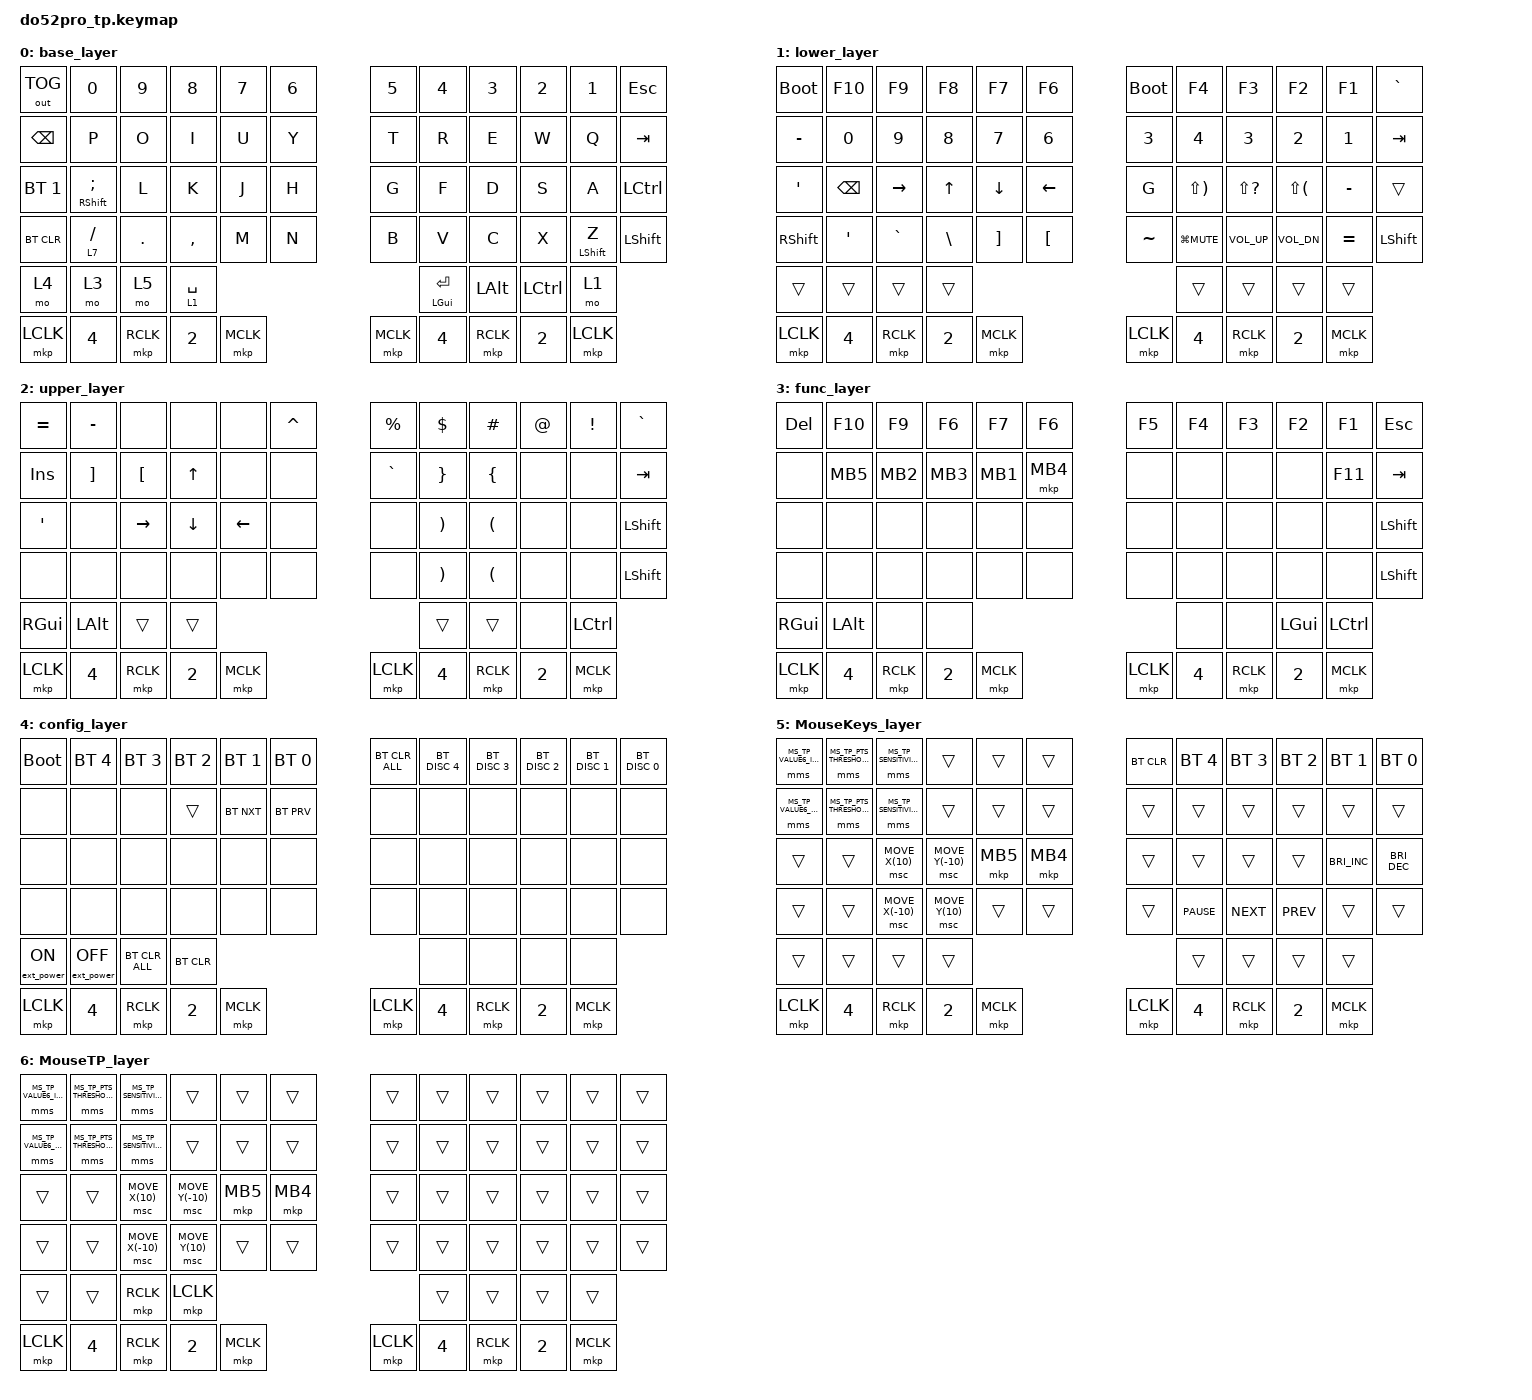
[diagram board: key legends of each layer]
#include <zephyr/dt-bindings/input/input-event-codes.h>
#include <dt-bindings/zmk/outputs.h>

#define BASE 0
#define LOWER 1
#define UPPER 2
#define FUNC 3
#define CONFIG 4
#define MOUSE_KEYS 5
#define MOUSE_TP 6
#define MOUSE_TP_KEYS 7
#define MOUSE_TP_SET 8

#ifdef HAS_UROB
#define HAS_TRI_STATE
#define HAS_NUM_WORD
#endif

#define HAS_MOUSE_KEYS
#define HAS_MOUSE_TP
#define HAS_TRI_STATE

#include "includes/mouse_keys.dtsi"
#include "includes/mouse_tp.dtsi"
#include "includes/mouse_tp_badjeff_input_listener.dtsi"
#include <dt-bindings/zmk/mouse.h>
#include <behaviors.dtsi>
#include <dt-bindings/zmk/bt.h>
#include <dt-bindings/zmk/ext_power.h>
#include <dt-bindings/zmk/keys.h>

&mt { flavor = "tap-preferred"; };

/ {
    combos {
        compatible = "zmk,combos";
        esc {
            bindings = <&kp ESCAPE>;
            key-positions = <19 20>; 
        };
        tab {
            bindings = <&kp TAB>;
            key-positions = <31 32>; 
        };
    };

    keymap {
        compatible = "zmk,keymap";

        base_layer {
            bindings = <
&out OUT_TOG    &kp N0          &kp N9    &kp N8  &kp N7  &kp N6                &kp N5 &kp N4 &kp N3 &kp N2 &kp N1       &kp ESCAPE
&kp BSPC        &kp P           &kp O     &kp I   &kp U   &kp Y                &kp T  &kp R  &kp E  &kp W  &kp Q        &kp TAB
&bt BT_SEL 1    &mt RSHIFT SEMI &kp L     &kp K   &kp J   &kp H                &kp G  &kp F  &kp D  &kp S  &kp A        &kp LCTRL
&bt BT_CLR      &lt 7 FSLH      &kp DOT   &kp COMMA &kp M &kp N                &kp B  &kp V  &kp C  &kp X  &mt LSHIFT Z &kp LSHFT
&mo 4           &mo 3                     &mo 5   &lt 1 SPACE                  &mt LGUI RET  &kp LALT             &kp LCTRL    &mo 1
&mkp LCLK       &kp N4          &mkp RCLK &kp N2  &mkp MCLK                    &mkp MCLK &kp N4 &mkp RCLK &kp N2 &mkp LCLK
            >;
        };

        lower_layer {
            bindings = <
&bootloader     &kp F10   &kp F9    &kp F8    &kp F7    &kp F6                 &bootloader   &kp F4   &kp F3   &kp F2   &kp F1   &kp GRAVE
&kp MINUS       &kp N0    &kp N9    &kp N8    &kp N7    &kp N6                 &kp N3   &kp N4   &kp N3   &kp N2   &kp N1   &kp TAB
&kp APOS        &kp BSPC  &kp RIGHT &kp UP    &kp DOWN  &kp LEFT               &kp G    &kp LS(RPAR) &kp LS(QMARK) &kp LS(LPAR) &kp MINUS &trans
&kp RIGHT_SHIFT &kp SQT   &kp GRAVE &kp BSLH  &kp RBKT  &kp LBKT               &kp TILDE &kp LG(K_MUTE) &kp C_VOLUME_UP &kp C_VOL_DN &kp EQUAL &kp LSHFT
&trans          &trans                        &trans    &trans                 &trans   &trans                    &trans   &trans
&mkp LCLK       &kp N4    &mkp RCLK &kp N2    &mkp MCLK                        &mkp LCLK &kp N4 &mkp RCLK &kp N2 &mkp MCLK
            >;
        };

        upper_layer {
            bindings = <
&kp EQUAL         &kp MINUS         &none          &none             &none          &kp CARET              &kp PRCNT &kp DLLR &kp HASH &kp AT   &kp EXCL  &kp GRAVE
&kp INS           &kp RIGHT_BRACKET &kp LEFT_BRACKET &kp UP_ARROW    &none          &none                  &kp GRAVE &kp RBRC &kp LBRC &none    &none     &kp TAB
&kp APOS          &none             &kp RIGHT_ARROW &kp DOWN_ARROW   &kp LEFT_ARROW &none                  &none     &kp RPAR &kp LPAR &none    &none     &kp LSHFT
&none             &none             &none          &none             &none          &none                  &none     &kp RPAR &kp LPAR &none    &none     &kp LSHFT
&kp RGUI          &kp LALT                         &trans            &trans                 &trans &trans                     &none    &kp LCTRL
&mkp LCLK         &kp N4            &mkp RCLK      &kp N2            &mkp MCLK                             &mkp LCLK &kp N4 &mkp RCLK &kp N2 &mkp MCLK
            >;
        };

        func_layer {
            bindings = <
&kp DEL   &kp F10  &kp F9   &kp F6   &kp F7   &kp F6                 &kp F5 &kp F4 &kp F3 &kp F2 &kp F1  &kp ESC
&none     &kp MB5  &kp MB2  &kp MB3  &kp MB1  &mkp MB4               &none  &none  &none  &none  &kp F11 &kp TAB
&none     &none    &none    &none    &none    &none                  &none  &none  &none  &none  &none   &kp LSHFT
&none     &none    &none    &none    &none    &none                  &none  &none  &none  &none  &none   &kp LSHFT
&kp RGUI  &kp LALT                   &none    &none                  &none  &none                &kp LGUI &kp LCTRL
&mkp LCLK &kp N4   &mkp RCLK &kp N2  &mkp MCLK                       &mkp LCLK &kp N4 &mkp RCLK &kp N2 &mkp MCLK
            >;
        };

        config_layer {
            bindings = <
&bootloader       &bt BT_SEL 4   &bt BT_SEL 3   &bt BT_SEL 2   &bt BT_SEL 1   &bt BT_SEL 0         &bt BT_CLR_ALL &bt BT_DISC 4 &bt BT_DISC 3 &bt BT_DISC 2 &bt BT_DISC 1 &bt BT_DISC 0
&none             &none          &none          &trans         &bt BT_NXT     &bt BT_PRV           &none          &none         &none         &none         &none         &none
&none             &none          &none          &none          &none          &none                &none          &none         &none         &none         &none         &none
&none             &none          &none          &none          &none          &none                &none          &none         &none         &none         &none         &none
&ext_power EP_ON  &ext_power EP_OFF                            &bt BT_CLR_ALL &bt BT_CLR           &none          &none                       &none         &none
&mkp LCLK         &kp N4         &mkp RCLK      &kp N2         &mkp MCLK                           &mkp LCLK      &kp N4        &mkp RCLK     &kp N2        &mkp MCLK
            >;
        };

        MouseKeys_layer {
            bindings = <
&mms MS_TP_VALUE6_INCR       &mms MS_TP_PTS_THRESHOLD_INCR &mms MS_TP_SENSITIVITY_INCR &trans          &trans          &trans                 &bt BT_CLR &bt BT_SEL 4 &bt BT_SEL 3 &bt BT_SEL 2 &bt BT_SEL 1 &bt BT_SEL 0
&mms MS_TP_VALUE6_DECR       &mms MS_TP_PTS_THRESHOLD_DECR &mms MS_TP_SENSITIVITY_DECR &trans          &trans          &trans                 &trans     &trans       &trans       &trans       &trans       &trans
&trans                       &trans                        &msc MOVE_X(10)             &msc MOVE_Y(-10) &mkp MB5       &mkp MB4               &trans     &trans       &trans       &trans       &kp C_BRIGHTNESS_INC &kp C_BRIGHTNESS_DEC
&trans                       &trans                        &msc MOVE_X(-10)            &msc MOVE_Y(10)  &trans         &trans                 &trans     &kp C_PAUSE  &kp C_NEXT   &kp C_PREV   &trans       &trans
&trans                       &trans                                                                     &trans         &trans                 &trans     &trans                                 &trans       &trans
&mkp LCLK                    &kp N4                        &mkp RCLK                   &kp N2          &mkp MCLK                              &mkp LCLK  &kp N4       &mkp RCLK    &kp N2       &mkp MCLK
            >;
        };

        MouseTP_layer {
            bindings = <
&mms MS_TP_VALUE6_INCR       &mms MS_TP_PTS_THRESHOLD_INCR &mms MS_TP_SENSITIVITY_INCR &trans          &trans          &trans                 &trans     &trans       &trans       &trans       &trans       &trans
&mms MS_TP_VALUE6_DECR       &mms MS_TP_PTS_THRESHOLD_DECR &mms MS_TP_SENSITIVITY_DECR &trans          &trans          &trans                 &trans     &trans       &trans       &trans       &trans       &trans
&trans                       &trans                        &msc MOVE_X(10)             &msc MOVE_Y(-10) &mkp MB5       &mkp MB4               &trans     &trans       &trans       &trans       &trans       &trans
&trans                       &trans                        &msc MOVE_X(-10)            &msc MOVE_Y(10)  &trans         &trans                 &trans     &trans       &trans       &trans       &trans       &trans
&trans                       &trans                                                                     &mkp RCLK      &mkp LCLK              &trans     &trans                                 &trans       &trans
&mkp LCLK                    &kp N4                        &mkp RCLK                   &kp N2          &mkp MCLK                              &mkp LCLK  &kp N4       &mkp RCLK    &kp N2       &mkp MCLK
            >;
        };
    };
};
